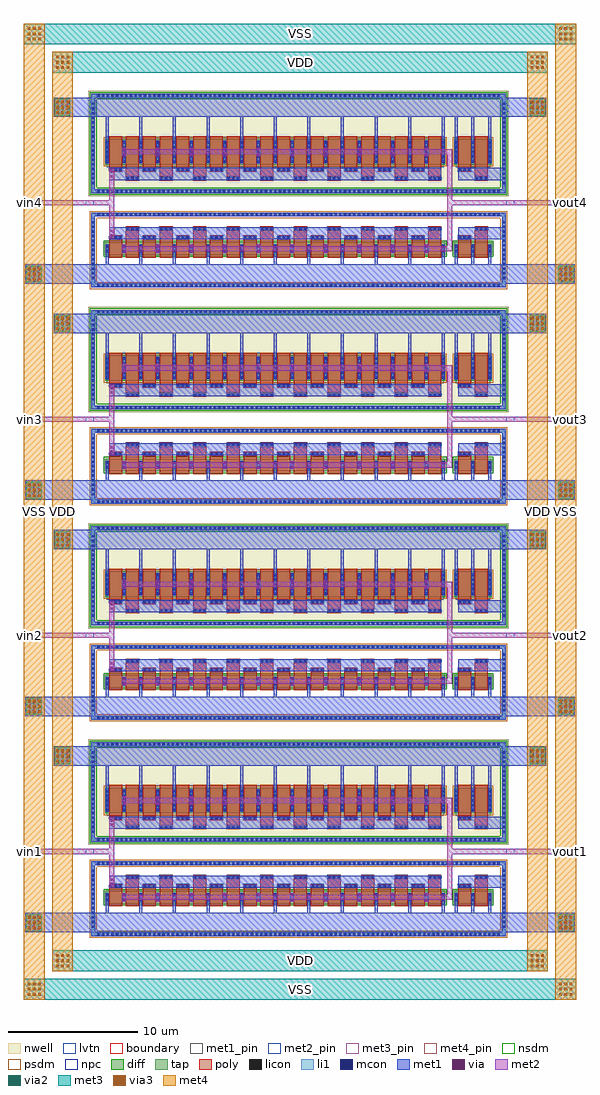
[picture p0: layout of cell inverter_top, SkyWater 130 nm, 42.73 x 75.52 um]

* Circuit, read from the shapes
.subckt inverter_top VDD VSS vin1 vin2 vin3 vin4 vout1 vout2 vout3 vout4
XM1 vout1 vin1 VSS VSS sky130_fd_pr__nfet_01v8 w=1 l=1 m=20
XM2 vout2 vin2 VSS VSS sky130_fd_pr__nfet_01v8 w=1 l=1 m=20
XM3 vout3 vin3 VSS VSS sky130_fd_pr__nfet_01v8 w=1 l=1 m=20
XM4 vout4 vin4 VSS VSS sky130_fd_pr__nfet_01v8 w=1 l=1 m=20
XM5 VSS VSS VSS VSS sky130_fd_pr__nfet_01v8 w=1 l=1 m=8
XM6 vout1 vin1 VDD VDD sky130_fd_pr__pfet_01v8_lvt w=2 l=1 m=20
XM7 vout2 vin2 VDD VDD sky130_fd_pr__pfet_01v8_lvt w=2 l=1 m=20
XM8 vout3 vin3 VDD VDD sky130_fd_pr__pfet_01v8_lvt w=2 l=1 m=20
XM9 vout4 vin4 VDD VDD sky130_fd_pr__pfet_01v8_lvt w=2 l=1 m=20
XM10 VDD VDD VDD VDD sky130_fd_pr__pfet_01v8_lvt w=2 l=1 m=8
.ends

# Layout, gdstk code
import gdstk
lib = gdstk.Library(unit=1e-6, precision=5e-09)
def R(c, l, rs):  # rectangles x0, y0, x1, y1
    for r in rs: c.add(gdstk.rectangle(r[:2], r[2:], *l))
def A(c, l, x, y, w, h, nx, ny, dx, dy):  # array of equal rectangles
    R(c, l, [(x+i*dx, y+j*dy, x+i*dx+w, y+j*dy+h) for i in range(nx) for j in range(ny)])
def P(c, l, *ps):  # polygons
    for p in ps: c.add(gdstk.Polygon(p, *l))
nwell = (64, 20)
diff = (65, 20)
tap = (65, 44)
poly = (66, 20)
licon = (66, 44)
li1 = (67, 20)
mcon = (67, 44)
met1_pin = (68, 16)
met1 = (68, 20)
via = (68, 44)
met2_pin = (69, 16)
met2 = (69, 20)
via2 = (69, 44)
met3_pin = (70, 16)
met3 = (70, 20)
via3 = (70, 44)
met4_pin = (71, 16)
met4 = (71, 20)
nsdm = (93, 44)
psdm = (94, 20)
npc = (95, 20)
lvtn = (125, 44)
boundary = (235, 4)

inverter = lib.new_cell('inverter')
R(inverter, nwell, [(0.17,7.17,32.73,15.33), (1.195,8.18,28.105,11.98), (28.195,8.18,31.705,11.98)])
R(inverter, diff, [(1.5,2.6,27.8,3.6), (28.5,2.6,31.4,3.6), (1.5,9.6,27.8,11.6), (28.5,9.6,31.4,11.6)])
P(inverter, tap, [(0.41,0.11),(0.41,5.6),(0.7,5.6),(0.7,0.4),(32.2,0.4),(32.2,5.6),(0.41,5.6),(0.41,5.89),(32.49,5.89),(32.49,0.11)],
  [(0.41,7.41),(0.41,14.8),(0.7,14.8),(0.7,7.7),(32.2,7.7),(32.2,14.8),(0.41,14.8),(0.41,15.09),(32.49,15.09),(32.49,7.41)])
A(inverter, poly, 1.8, 2.4, 1, 1.4, 10, 1, 2.6, 0)
A(inverter, poly, 3.1, 2.4, 1, 2.1, 10, 1, 2.6, 0)
A(inverter, poly, 1.8, 3.8, 1, 0.33, 10, 2, 2.6, 5.27)
A(inverter, poly, 3.1, 4.5, 1, 0.33, 10, 2, 2.6, 3.87)
A(inverter, poly, 3.1, 8.7, 1, 3.1, 10, 1, 2.6, 0)
A(inverter, poly, 1.8, 9.4, 1, 2.4, 10, 1, 2.6, 0)
R(inverter, poly, [(28.8,2.4,29.8,3.8), (30.1,2.4,31.1,4.5), (28.8,3.8,29.8,4.13), (30.1,4.5,31.1,4.83), (30.1,8.37,31.1,8.7), (30.1,8.7,31.1,11.8), (28.8,9.07,29.8,9.4), (28.8,9.4,29.8,11.8)])
A(inverter, licon, 0.885, 0.17, 0.17, 0.17, 87, 2, 0.36, 5.49)
A(inverter, licon, 0.47, 0.755, 0.17, 0.17, 1, 13, 0, 0.36)
A(inverter, licon, 32.26, 0.755, 0.17, 0.17, 1, 13, 0, 0.36)
A(inverter, licon, 1.565, 2.835, 0.17, 0.17, 21, 2, 1.3, 0.36)
A(inverter, licon, 28.565, 2.835, 0.17, 0.17, 3, 2, 1.3, 0.36)
A(inverter, licon, 1.855, 3.88, 0.17, 0.17, 3, 2, 0.36, 5.27)
A(inverter, licon, 4.455, 3.88, 0.17, 0.17, 3, 2, 0.36, 5.27)
A(inverter, licon, 7.055, 3.88, 0.17, 0.17, 3, 2, 0.36, 5.27)
A(inverter, licon, 9.655, 3.88, 0.17, 0.17, 3, 2, 0.36, 5.27)
A(inverter, licon, 12.255, 3.88, 0.17, 0.17, 3, 2, 0.36, 5.27)
A(inverter, licon, 14.855, 3.88, 0.17, 0.17, 3, 2, 0.36, 5.27)
A(inverter, licon, 17.455, 3.88, 0.17, 0.17, 3, 2, 0.36, 5.27)
A(inverter, licon, 20.055, 3.88, 0.17, 0.17, 3, 2, 0.36, 5.27)
A(inverter, licon, 22.655, 3.88, 0.17, 0.17, 3, 2, 0.36, 5.27)
A(inverter, licon, 25.255, 3.88, 0.17, 0.17, 3, 2, 0.36, 5.27)
A(inverter, licon, 28.855, 3.88, 0.17, 0.17, 3, 2, 0.36, 5.27)
A(inverter, licon, 3.155, 4.58, 0.17, 0.17, 3, 2, 0.36, 3.87)
A(inverter, licon, 5.755, 4.58, 0.17, 0.17, 3, 2, 0.36, 3.87)
A(inverter, licon, 8.355, 4.58, 0.17, 0.17, 3, 2, 0.36, 3.87)
A(inverter, licon, 10.955, 4.58, 0.17, 0.17, 3, 2, 0.36, 3.87)
A(inverter, licon, 13.555, 4.58, 0.17, 0.17, 3, 2, 0.36, 3.87)
A(inverter, licon, 16.155, 4.58, 0.17, 0.17, 3, 2, 0.36, 3.87)
A(inverter, licon, 18.755, 4.58, 0.17, 0.17, 3, 2, 0.36, 3.87)
A(inverter, licon, 21.355, 4.58, 0.17, 0.17, 3, 2, 0.36, 3.87)
A(inverter, licon, 23.955, 4.58, 0.17, 0.17, 3, 2, 0.36, 3.87)
A(inverter, licon, 26.555, 4.58, 0.17, 0.17, 3, 2, 0.36, 3.87)
A(inverter, licon, 30.155, 4.58, 0.17, 0.17, 3, 2, 0.36, 3.87)
A(inverter, licon, 0.885, 7.47, 0.17, 0.17, 87, 2, 0.36, 7.39)
A(inverter, licon, 0.47, 8.105, 0.17, 0.17, 1, 18, 0, 0.36)
A(inverter, licon, 32.26, 8.105, 0.17, 0.17, 1, 18, 0, 0.36)
A(inverter, licon, 1.565, 9.795, 0.17, 0.17, 21, 5, 1.3, 0.36)
A(inverter, licon, 28.565, 9.795, 0.17, 0.17, 3, 5, 1.3, 0.36)
A(inverter, li1, 1.565, 2.755, 0.17, 0.69, 21, 1, 1.3, 0)
A(inverter, li1, 28.565, 2.755, 0.17, 0.69, 3, 1, 1.3, 0)
A(inverter, li1, 1.775, 3.88, 1.05, 0.17, 10, 2, 2.6, 5.27)
A(inverter, li1, 3.075, 4.58, 1.05, 0.17, 10, 2, 2.6, 3.87)
A(inverter, li1, 1.565, 9.715, 0.17, 1.77, 21, 1, 1.3, 0)
A(inverter, li1, 28.565, 9.715, 0.17, 1.77, 3, 1, 1.3, 0)
R(inverter, li1, [(28.775,3.88,29.825,4.05), (30.075,4.58,31.125,4.75), (30.075,8.45,31.125,8.62), (28.775,9.15,29.825,9.32)])
P(inverter, li1, [(0.41,0.11),(0.41,5.6),(0.7,5.6),(0.7,0.4),(32.2,0.4),(32.2,5.6),(0.41,5.6),(0.41,5.89),(32.49,5.89),(32.49,0.11)],
  [(0.41,7.41),(0.41,14.8),(0.7,14.8),(0.7,7.7),(32.2,7.7),(32.2,14.8),(0.41,14.8),(0.41,15.09),(32.49,15.09),(32.49,7.41)])
A(inverter, mcon, 0.885, 0.17, 0.17, 0.17, 87, 2, 0.36, 5.49)
A(inverter, mcon, 0.47, 0.755, 0.17, 0.17, 1, 13, 0, 0.36)
A(inverter, mcon, 32.26, 0.755, 0.17, 0.17, 1, 13, 0, 0.36)
A(inverter, mcon, 1.565, 2.835, 0.17, 0.17, 21, 2, 1.3, 0.36)
A(inverter, mcon, 28.565, 2.835, 0.17, 0.17, 3, 2, 1.3, 0.36)
A(inverter, mcon, 1.855, 3.88, 0.17, 0.17, 3, 2, 0.36, 5.27)
A(inverter, mcon, 4.455, 3.88, 0.17, 0.17, 3, 2, 0.36, 5.27)
A(inverter, mcon, 7.055, 3.88, 0.17, 0.17, 3, 2, 0.36, 5.27)
A(inverter, mcon, 9.655, 3.88, 0.17, 0.17, 3, 2, 0.36, 5.27)
A(inverter, mcon, 12.255, 3.88, 0.17, 0.17, 3, 2, 0.36, 5.27)
A(inverter, mcon, 14.855, 3.88, 0.17, 0.17, 3, 2, 0.36, 5.27)
A(inverter, mcon, 17.455, 3.88, 0.17, 0.17, 3, 2, 0.36, 5.27)
A(inverter, mcon, 20.055, 3.88, 0.17, 0.17, 3, 2, 0.36, 5.27)
A(inverter, mcon, 22.655, 3.88, 0.17, 0.17, 3, 2, 0.36, 5.27)
A(inverter, mcon, 25.255, 3.88, 0.17, 0.17, 3, 2, 0.36, 5.27)
A(inverter, mcon, 28.855, 3.88, 0.17, 0.17, 3, 2, 0.36, 5.27)
A(inverter, mcon, 3.155, 4.58, 0.17, 0.17, 3, 2, 0.36, 3.87)
A(inverter, mcon, 5.755, 4.58, 0.17, 0.17, 3, 2, 0.36, 3.87)
A(inverter, mcon, 8.355, 4.58, 0.17, 0.17, 3, 2, 0.36, 3.87)
A(inverter, mcon, 10.955, 4.58, 0.17, 0.17, 3, 2, 0.36, 3.87)
A(inverter, mcon, 13.555, 4.58, 0.17, 0.17, 3, 2, 0.36, 3.87)
A(inverter, mcon, 16.155, 4.58, 0.17, 0.17, 3, 2, 0.36, 3.87)
A(inverter, mcon, 18.755, 4.58, 0.17, 0.17, 3, 2, 0.36, 3.87)
A(inverter, mcon, 21.355, 4.58, 0.17, 0.17, 3, 2, 0.36, 3.87)
A(inverter, mcon, 23.955, 4.58, 0.17, 0.17, 3, 2, 0.36, 3.87)
A(inverter, mcon, 26.555, 4.58, 0.17, 0.17, 3, 2, 0.36, 3.87)
A(inverter, mcon, 30.155, 4.58, 0.17, 0.17, 3, 2, 0.36, 3.87)
A(inverter, mcon, 0.885, 7.47, 0.17, 0.17, 87, 2, 0.36, 7.39)
A(inverter, mcon, 0.47, 8.105, 0.17, 0.17, 1, 18, 0, 0.36)
A(inverter, mcon, 32.26, 8.105, 0.17, 0.17, 1, 18, 0, 0.36)
A(inverter, mcon, 1.565, 9.795, 0.17, 0.17, 21, 5, 1.3, 0.36)
A(inverter, mcon, 28.565, 9.795, 0.17, 0.17, 3, 5, 1.3, 0.36)
R(inverter, met1_pin, [(0.7,0.4,32.2,1.9), (0.7,13.3,32.2,14.8)])
A(inverter, met1, 1.535, 1.6, 0.23, 1.275, 11, 1, 2.6, 0)
A(inverter, met1, 28.535, 1.6, 0.23, 1.275, 3, 1, 1.3, 0)
A(inverter, met1, 2.79, 2.77, 0.32, 0.66, 10, 2, 2.6, 7.5)
A(inverter, met1, 1.535, 2.775, 0.23, 0.65, 21, 1, 1.3, 0)
A(inverter, met1, 28.535, 2.775, 0.23, 0.65, 3, 1, 1.3, 0)
A(inverter, met1, 1.795, 3.85, 1.01, 0.23, 10, 2, 2.6, 5.27)
A(inverter, met1, 3.095, 4.55, 1.01, 0.23, 10, 2, 2.6, 3.87)
A(inverter, met1, 1.535, 9.735, 0.23, 1.73, 21, 1, 1.3, 0)
A(inverter, met1, 28.535, 9.735, 0.23, 1.73, 3, 1, 1.3, 0)
A(inverter, met1, 1.535, 11.365, 0.23, 2.235, 11, 1, 2.6, 0)
A(inverter, met1, 28.535, 11.365, 0.23, 2.235, 3, 1, 1.3, 0)
R(inverter, met1, [(0.7,0.4,32.2,1.9), (1.795,3.85,27.505,4.78), (28.795,3.85,29.805,4.08), (28.795,3.85,32.2,4.78), (30.095,4.55,31.105,4.78), (1.795,8.42,27.505,9.35), (28.795,8.42,32.2,9.35), (30.095,8.42,31.105,8.65), (28.795,9.12,29.805,9.35), (0.7,13.3,32.2,14.8)])
P(inverter, met1, [(0.41,0.11),(0.41,5.6),(0.7,5.6),(0.7,0.4),(32.2,0.4),(32.2,5.6),(0.41,5.6),(0.41,5.89),(32.49,5.89),(32.49,0.11)],
  [(0.41,7.41),(0.41,14.8),(0.7,14.8),(0.7,7.7),(32.2,7.7),(32.2,14.8),(0.41,14.8),(0.41,15.09),(32.49,15.09),(32.49,7.41)])
A(inverter, via, 2.875, 2.865, 0.15, 0.15, 10, 2, 2.6, 0.32)
A(inverter, via, 2.875, 10.365, 0.15, 0.15, 10, 2, 2.6, 0.32)
R(inverter, via, [(1.93,4.08,2.08,4.23), (1.93,4.4,2.08,4.55), (1.93,8.65,2.08,8.8), (1.93,8.97,2.08,9.12)])
R(inverter, met2_pin, [(0,6.45,0.6,6.85), (32.53,6.45,33.13,6.85)])
A(inverter, met2, 2.79, 2.77, 0.32, 0.66, 10, 2, 2.6, 7.5)
R(inverter, met2, [(2.79,2.9,28.35,3.3), (27.95,2.9,28.35,10.8), (1.805,3.9,2.205,9.3), (1.845,3.9,2.165,4.73), (0,6.45,2.205,6.85), (0,6.45,0.6,6.85), (27.95,6.45,33.13,6.85), (32.53,6.45,33.13,6.85), (1.845,8.47,2.165,9.3), (2.79,10.4,28.35,10.8)])
R(inverter, nsdm, [(1.375,2.475,27.925,3.725), (28.375,2.475,31.525,3.725)])
P(inverter, nsdm, [(0.285,7.285),(0.285,14.675),(0.825,14.675),(0.825,7.825),(32.075,7.825),(32.075,14.675),(0.285,14.675),(0.285,15.215),(32.615,15.215),(32.615,7.285)])
R(inverter, psdm, [(1.375,9.475,27.925,11.725), (28.375,9.475,31.525,11.725)])
P(inverter, psdm, [(0.285,-0.015),(0.285,5.475),(0.825,5.475),(0.825,0.525),(32.075,0.525),(32.075,5.475),(0.285,5.475),(0.285,6.015),(32.615,6.015),(32.615,-0.015)])
A(inverter, npc, 1.79, 3.79, 1.02, 0.35, 10, 2, 2.6, 5.27)
A(inverter, npc, 3.09, 4.49, 1.02, 0.35, 10, 2, 2.6, 3.87)
R(inverter, npc, [(28.79,3.79,29.81,4.14), (30.09,4.49,31.11,4.84), (30.09,8.36,31.11,8.71), (28.79,9.06,29.81,9.41)])
R(inverter, lvtn, [(1.62,9.42,27.68,11.78), (28.62,9.42,31.28,11.78)])
R(inverter, boundary, [(0,0,33.13,15.73)])
inverter.add(gdstk.Label('VSS', (16.45,1.15), layer=68, texttype=5))
inverter.add(gdstk.Label('VDD', (16.45,14.05), layer=68, texttype=5))
inverter.add(gdstk.Label('vin', (0.3,6.65), layer=69, texttype=5))
inverter.add(gdstk.Label('vout', (32.83,6.65), layer=69, texttype=5))

inverter_top = lib.new_cell('inverter_top')
A(inverter_top, met1, 0.1, 5.2, 5.6, 1.5, 1, 4, 0, 16.73)
A(inverter_top, met1, 36.8, 5.2, 5.83, 1.5, 1, 4, 0, 16.73)
A(inverter_top, met1, 0.2, 5.3, 1.2, 1.3, 1, 4, 0, 16.73)
A(inverter_top, met1, 41.33, 5.3, 1.2, 1.3, 1, 4, 0, 16.73)
A(inverter_top, met1, 2.3, 18.1, 3.4, 1.5, 1, 4, 0, 16.73)
A(inverter_top, met1, 36.8, 18.1, 3.63, 1.5, 1, 4, 0, 16.73)
A(inverter_top, met1, 2.4, 18.2, 1.2, 1.3, 1, 4, 0, 16.73)
A(inverter_top, met1, 39.13, 18.2, 1.2, 1.3, 1, 4, 0, 16.73)
A(inverter_top, via, 0.405, 5.395, 0.15, 0.15, 3, 4, 0.32, 0.32)
A(inverter_top, via, 41.535, 5.395, 0.15, 0.15, 3, 4, 0.32, 0.32)
A(inverter_top, via, 2.605, 18.295, 0.15, 0.15, 3, 4, 0.32, 0.32)
A(inverter_top, via, 39.335, 18.295, 0.15, 0.15, 3, 4, 0.32, 0.32)
A(inverter_top, via, 0.405, 22.125, 0.15, 0.15, 3, 4, 0.32, 0.32)
A(inverter_top, via, 41.535, 22.125, 0.15, 0.15, 3, 4, 0.32, 0.32)
A(inverter_top, via, 2.605, 35.025, 0.15, 0.15, 3, 4, 0.32, 0.32)
A(inverter_top, via, 39.335, 35.025, 0.15, 0.15, 3, 4, 0.32, 0.32)
A(inverter_top, via, 0.405, 38.855, 0.15, 0.15, 3, 4, 0.32, 0.32)
A(inverter_top, via, 41.535, 38.855, 0.15, 0.15, 3, 4, 0.32, 0.32)
A(inverter_top, via, 2.605, 51.755, 0.15, 0.15, 3, 4, 0.32, 0.32)
A(inverter_top, via, 39.335, 51.755, 0.15, 0.15, 3, 4, 0.32, 0.32)
A(inverter_top, via, 0.405, 55.585, 0.15, 0.15, 3, 4, 0.32, 0.32)
A(inverter_top, via, 41.535, 55.585, 0.15, 0.15, 3, 4, 0.32, 0.32)
A(inverter_top, via, 2.605, 68.485, 0.15, 0.15, 3, 4, 0.32, 0.32)
A(inverter_top, via, 39.335, 68.485, 0.15, 0.15, 3, 4, 0.32, 0.32)
A(inverter_top, met2_pin, 0, 11.25, 0.8, 0.4, 1, 4, 0, 16.73)
A(inverter_top, met2_pin, 41.93, 11.25, 0.8, 0.4, 1, 4, 0, 16.73)
A(inverter_top, met2, 0.2, 5.3, 1.2, 1.3, 1, 4, 0, 16.73)
A(inverter_top, met2, 41.33, 5.3, 1.2, 1.3, 1, 4, 0, 16.73)
A(inverter_top, met2, 0, 11.25, 5.1, 0.4, 1, 4, 0, 16.73)
A(inverter_top, met2, 0, 11.25, 0.8, 0.4, 1, 4, 0, 16.73)
A(inverter_top, met2, 37.63, 11.25, 5.1, 0.4, 1, 4, 0, 16.73)
A(inverter_top, met2, 41.93, 11.25, 0.8, 0.4, 1, 4, 0, 16.73)
A(inverter_top, met2, 2.4, 18.2, 1.2, 1.3, 1, 4, 0, 16.73)
A(inverter_top, met2, 39.13, 18.2, 1.2, 1.3, 1, 4, 0, 16.73)
A(inverter_top, via2, 0.3, 5.45, 0.2, 0.2, 3, 3, 0.4, 0.4)
A(inverter_top, via2, 41.43, 5.45, 0.2, 0.2, 3, 3, 0.4, 0.4)
A(inverter_top, via2, 2.5, 18.35, 0.2, 0.2, 3, 3, 0.4, 0.4)
A(inverter_top, via2, 39.23, 18.35, 0.2, 0.2, 3, 3, 0.4, 0.4)
A(inverter_top, via2, 0.3, 22.18, 0.2, 0.2, 3, 3, 0.4, 0.4)
A(inverter_top, via2, 41.43, 22.18, 0.2, 0.2, 3, 3, 0.4, 0.4)
A(inverter_top, via2, 2.5, 35.08, 0.2, 0.2, 3, 3, 0.4, 0.4)
A(inverter_top, via2, 39.23, 35.08, 0.2, 0.2, 3, 3, 0.4, 0.4)
A(inverter_top, via2, 0.3, 38.91, 0.2, 0.2, 3, 3, 0.4, 0.4)
A(inverter_top, via2, 41.43, 38.91, 0.2, 0.2, 3, 3, 0.4, 0.4)
A(inverter_top, via2, 2.5, 51.81, 0.2, 0.2, 3, 3, 0.4, 0.4)
A(inverter_top, via2, 39.23, 51.81, 0.2, 0.2, 3, 3, 0.4, 0.4)
A(inverter_top, via2, 0.3, 55.64, 0.2, 0.2, 3, 3, 0.4, 0.4)
A(inverter_top, via2, 41.43, 55.64, 0.2, 0.2, 3, 3, 0.4, 0.4)
A(inverter_top, via2, 2.5, 68.54, 0.2, 0.2, 3, 3, 0.4, 0.4)
A(inverter_top, via2, 39.23, 68.54, 0.2, 0.2, 3, 3, 0.4, 0.4)
R(inverter_top, met3_pin, [(0,0,42.73,1.6), (2.2,2.2,40.53,3.8), (2.2,71.72,40.53,73.32), (0,73.92,42.73,75.52)])
A(inverter_top, met3, 0.2, 5.3, 1.2, 1.3, 1, 4, 0, 16.73)
A(inverter_top, met3, 41.33, 5.3, 1.2, 1.3, 1, 4, 0, 16.73)
A(inverter_top, met3, 2.4, 18.2, 1.2, 1.3, 1, 4, 0, 16.73)
A(inverter_top, met3, 39.13, 18.2, 1.2, 1.3, 1, 4, 0, 16.73)
R(inverter_top, met3, [(0,0,42.73,1.6), (2.2,2.2,40.53,3.8), (2.2,71.72,40.53,73.32), (0,73.92,42.73,75.52)])
A(inverter_top, via3, 0.3, 0.3, 0.2, 0.2, 3, 3, 0.4, 0.4)
A(inverter_top, via3, 41.43, 0.3, 0.2, 0.2, 3, 3, 0.4, 0.4)
A(inverter_top, via3, 2.5, 2.5, 0.2, 0.2, 3, 3, 0.4, 0.4)
A(inverter_top, via3, 39.23, 2.5, 0.2, 0.2, 3, 3, 0.4, 0.4)
A(inverter_top, via3, 0.3, 5.45, 0.2, 0.2, 3, 3, 0.4, 0.4)
A(inverter_top, via3, 41.43, 5.45, 0.2, 0.2, 3, 3, 0.4, 0.4)
A(inverter_top, via3, 2.5, 18.35, 0.2, 0.2, 3, 3, 0.4, 0.4)
A(inverter_top, via3, 39.23, 18.35, 0.2, 0.2, 3, 3, 0.4, 0.4)
A(inverter_top, via3, 0.3, 22.18, 0.2, 0.2, 3, 3, 0.4, 0.4)
A(inverter_top, via3, 41.43, 22.18, 0.2, 0.2, 3, 3, 0.4, 0.4)
A(inverter_top, via3, 2.5, 35.08, 0.2, 0.2, 3, 3, 0.4, 0.4)
A(inverter_top, via3, 39.23, 35.08, 0.2, 0.2, 3, 3, 0.4, 0.4)
A(inverter_top, via3, 0.3, 38.91, 0.2, 0.2, 3, 3, 0.4, 0.4)
A(inverter_top, via3, 41.43, 38.91, 0.2, 0.2, 3, 3, 0.4, 0.4)
A(inverter_top, via3, 2.5, 51.81, 0.2, 0.2, 3, 3, 0.4, 0.4)
A(inverter_top, via3, 39.23, 51.81, 0.2, 0.2, 3, 3, 0.4, 0.4)
A(inverter_top, via3, 0.3, 55.64, 0.2, 0.2, 3, 3, 0.4, 0.4)
A(inverter_top, via3, 41.43, 55.64, 0.2, 0.2, 3, 3, 0.4, 0.4)
A(inverter_top, via3, 2.5, 68.54, 0.2, 0.2, 3, 3, 0.4, 0.4)
A(inverter_top, via3, 39.23, 68.54, 0.2, 0.2, 3, 3, 0.4, 0.4)
A(inverter_top, via3, 2.5, 72.02, 0.2, 0.2, 3, 3, 0.4, 0.4)
A(inverter_top, via3, 39.23, 72.02, 0.2, 0.2, 3, 3, 0.4, 0.4)
A(inverter_top, via3, 0.3, 74.22, 0.2, 0.2, 3, 3, 0.4, 0.4)
A(inverter_top, via3, 41.43, 74.22, 0.2, 0.2, 3, 3, 0.4, 0.4)
R(inverter_top, met4_pin, [(0,0,1.6,75.52), (41.13,0,42.73,75.52), (2.2,2.2,3.8,73.32), (38.93,2.2,40.53,73.32)])
A(inverter_top, met4, 0.2, 5.3, 1.2, 1.3, 1, 4, 0, 16.73)
A(inverter_top, met4, 41.33, 5.3, 1.2, 1.3, 1, 4, 0, 16.73)
A(inverter_top, met4, 2.4, 18.2, 1.2, 1.3, 1, 4, 0, 16.73)
A(inverter_top, met4, 39.13, 18.2, 1.2, 1.3, 1, 4, 0, 16.73)
R(inverter_top, met4, [(0,0,1.6,75.52), (41.13,0,42.73,75.52), (2.2,2.2,3.8,73.32), (38.93,2.2,40.53,73.32)])
R(inverter_top, boundary, [(0,0,42.73,75.52)])
inverter_top.add(gdstk.Reference(inverter, (4.8,4.8)))
inverter_top.add(gdstk.Reference(inverter, (4.8,21.53)))
inverter_top.add(gdstk.Reference(inverter, (4.8,38.26)))
inverter_top.add(gdstk.Reference(inverter, (4.8,54.99)))
inverter_top.add(gdstk.Label('vin1', (0.4,11.45), layer=69, texttype=5))
inverter_top.add(gdstk.Label('vout1', (42.33,11.45), layer=69, texttype=5))
inverter_top.add(gdstk.Label('vin2', (0.4,28.18), layer=69, texttype=5))
inverter_top.add(gdstk.Label('vout2', (42.33,28.18), layer=69, texttype=5))
inverter_top.add(gdstk.Label('vin3', (0.4,44.91), layer=69, texttype=5))
inverter_top.add(gdstk.Label('vout3', (42.33,44.91), layer=69, texttype=5))
inverter_top.add(gdstk.Label('vin4', (0.4,61.64), layer=69, texttype=5))
inverter_top.add(gdstk.Label('vout4', (42.33,61.64), layer=69, texttype=5))
inverter_top.add(gdstk.Label('VSS', (21.365,0.8), layer=70, texttype=5))
inverter_top.add(gdstk.Label('VSS', (21.365,74.72), layer=70, texttype=5))
inverter_top.add(gdstk.Label('VDD', (21.365,3), layer=70, texttype=5))
inverter_top.add(gdstk.Label('VDD', (21.365,72.52), layer=70, texttype=5))
inverter_top.add(gdstk.Label('VSS', (0.8,37.76), layer=71, texttype=5))
inverter_top.add(gdstk.Label('VSS', (41.93,37.76), layer=71, texttype=5))
inverter_top.add(gdstk.Label('VDD', (3,37.76), layer=71, texttype=5))
inverter_top.add(gdstk.Label('VDD', (39.73,37.76), layer=71, texttype=5))

lib.write_gds('inverter_top.gds')
